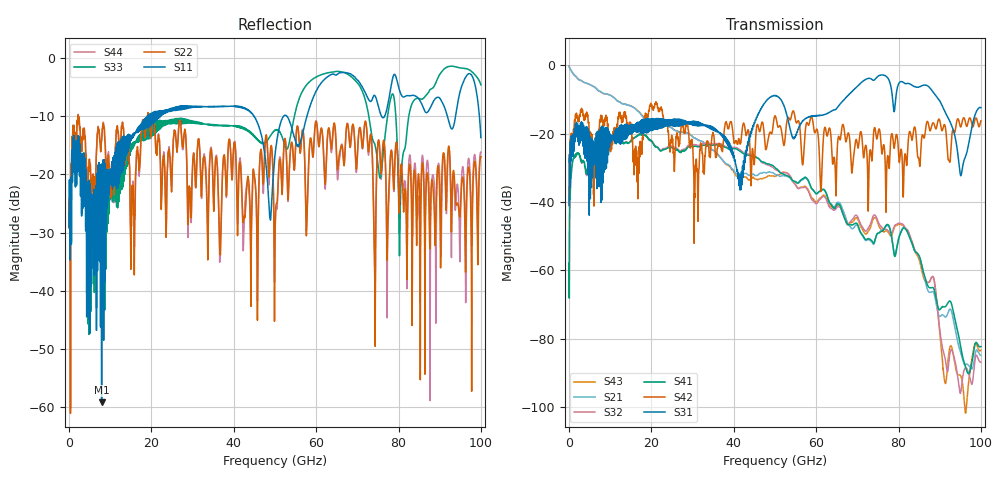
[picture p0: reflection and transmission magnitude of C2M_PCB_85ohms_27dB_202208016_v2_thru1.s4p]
! Info: Touchstone file created by Circ.  Input file=Intel_C2M_200G_11p5in_202208016_staggered.circ
# Hz S RI R 50
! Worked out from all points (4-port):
!   10000 points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, 10 MHz to 100 GHz, reference 50 ohm
!   strongest paths, dB at 10 MHz, 25.01 GHz, 50.01 GHz, 75.01 GHz, 100 GHz:
!     S31: -41.0, -16.9, -8.9, -3.3, -12.5
!     S42: -41.0, -22.1, -14.8, -19.8, -16.3
!     S41: -57.8, -24.1, -30.0, -49.1, -82.2
!     S32: -57.8, -23.8, -30.5, -45.6, -86.8
!     S21: -0.3, -18.4, -31.9, -49.2, -84.8
!     S43: -0.3, -18.4, -32.5, -46.2, -83.3
!   lowest |S11| = -59.2 dB at 7.9 GHz (marker M1), VSWR 1.00, Z = 50 - j0.11 ohm
!   |S11| at or under -10 dB: start of sweep to 19.06 GHz; 44.91 GHz to 52.05 GHz (7.139 GHz wide, 14.7 % of centre); 52.9 GHz to 57.77 GHz (4.867 GHz wide, 8.8 % of centre)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
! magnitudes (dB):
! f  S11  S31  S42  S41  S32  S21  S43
! 10 MHz  -29.1  -41.0  -41.0  -57.8  -57.8  -0.3  -0.3
! 1.22 GHz  -14.9  -21.5  -18.5  -26.7  -26.7  -2.9  -2.9
! 7.9 GHz  -59.2  -17.9  -14.8  -23.2  -23.0  -8.0  -8.0
! 65.04 GHz  -2.9  -12.6  -26.9  -40.6  -41.6  -40.2  -41.1
! 80.74 GHz  -6.4  -4.8  -25.1  -48.4  -46.4  -48.2  -46.7
! 95.16 GHz  -5.2  -32.3  -18.0  -82.7  -95.3  -84.3  -91.0
! 100 GHz  -13.7  -12.5  -16.3  -82.2  -86.8  -84.8  -83.3
